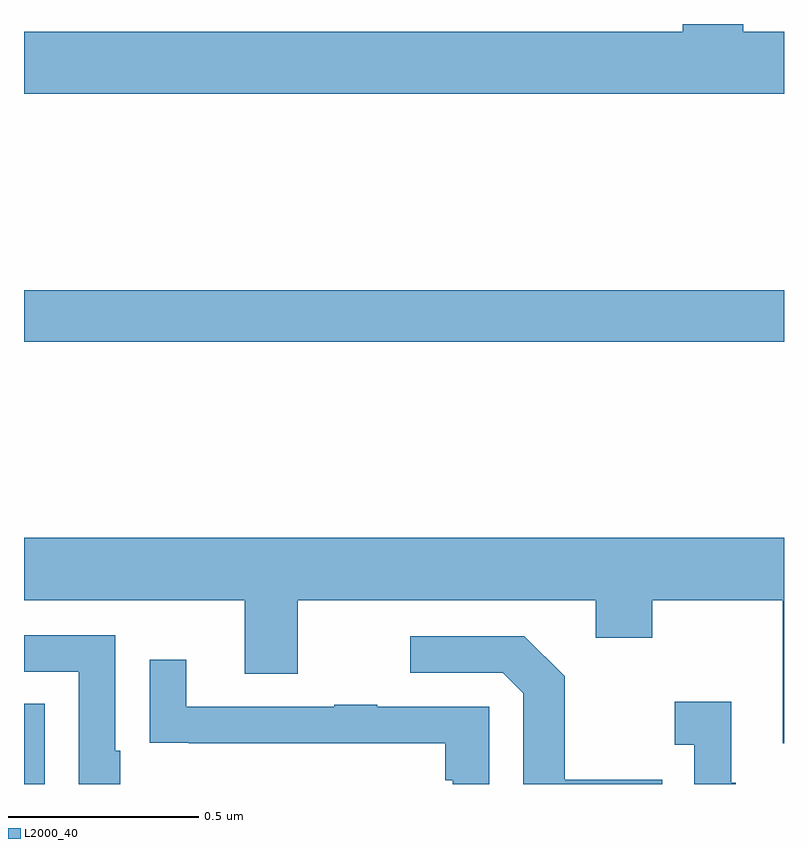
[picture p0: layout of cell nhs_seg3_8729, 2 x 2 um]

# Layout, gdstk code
import gdstk
lib = gdstk.Library(unit=1e-6, precision=1e-09)
def R(c, l, rs):  # rectangles x0, y0, x1, y1
    for r in rs: c.add(gdstk.rectangle(r[:2], r[2:], *l))
def P(c, l, *ps):  # polygons
    for p in ps: c.add(gdstk.Polygon(p, *l))
L2000_40 = (2000, 40)

nhs_seg3_8729 = lib.new_cell('nhs_seg3_8729')
R(nhs_seg3_8729, L2000_40, [(219,732.4,219.054,732.611), (219,733.564,221,733.7)])
P(nhs_seg3_8729, L2000_40, [(221,734.38),(220.893,734.38),(220.893,734.4),(220.733,734.4),(220.733,734.38),(219,734.38),(219,734.216),(221,734.216)],
  [(221,733.048),(219,733.048),(219,732.884),(219.581,732.884),(219.581,732.69),(219.721,732.69),(219.721,732.884),(220.505,732.884),(220.505,732.785),(220.653,732.785),(220.653,732.884),(220.997,732.884),(220.997,732.507),(221,732.507)],
  [(219.253,732.487),(219.24,732.487),(219.24,732.792),(219,732.792),(219,732.696),(219.144,732.696),(219.144,732.4),(219.253,732.4)],
  [(220.679,732.411),(220.423,732.411),(220.423,732.683),(220.317,732.789),(220.017,732.789),(220.017,732.693),(220.26,732.693),(220.314,732.639),(220.314,732.4),(220.679,732.4)],
  [(220.224,732.603),(219.929,732.603),(219.929,732.608),(219.817,732.608),(219.817,732.603),(219.427,732.603),(219.427,732.727),(219.331,732.727),(219.331,732.508),(219.433,732.508),(219.433,732.507),(220.108,732.507),(220.108,732.41),(220.128,732.41),(220.128,732.4),(220.224,732.4)],
  [(220.873,732.403),(220.861,732.403),(220.861,732.616),(220.713,732.616),(220.713,732.503),(220.764,732.503),(220.764,732.4),(220.873,732.4)])

lib.write_gds('nhs_seg3_8729.gds')
